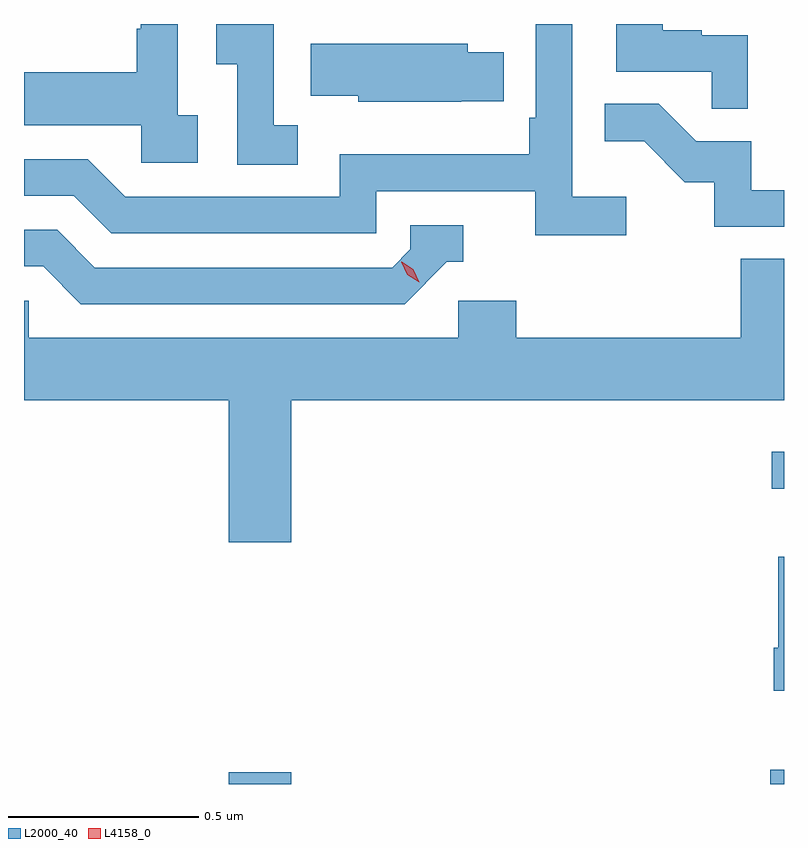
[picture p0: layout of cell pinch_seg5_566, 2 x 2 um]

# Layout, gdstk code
import gdstk
lib = gdstk.Library(unit=1e-6, precision=1e-09)
def R(c, l, rs):  # rectangles x0, y0, x1, y1
    for r in rs: c.add(gdstk.rectangle(r[:2], r[2:], *l))
def P(c, l, *ps):  # polygons
    for p in ps: c.add(gdstk.Polygon(p, *l))
L2000_40 = (2000, 40)
L4158_0 = (4158, 0)

pinch_seg5_566 = lib.new_cell('pinch_seg5_566')
R(pinch_seg5_566, L2000_40, [(968.204,835.77,968.368,835.801), (969.629,835.77,969.665,835.807), (969.633,836.547,969.665,836.644)])
P(pinch_seg5_566, L2000_40, [(969.57,837.741),(969.449,837.741),(969.449,837.754),(969.346,837.754),(969.346,837.77),(969.224,837.77),(969.224,837.645),(969.475,837.645),(969.475,837.547),(969.57,837.547)],
  [(969.25,837.316),(969.108,837.316),(969.108,837.77),(969.012,837.77),(969.012,837.523),(968.995,837.523),(968.995,837.427),(968.496,837.427),(968.496,837.315),(967.932,837.315),(967.833,837.414),(967.665,837.414),(967.665,837.318),(967.796,837.318),(967.895,837.219),(968.592,837.219),(968.592,837.33),(969.011,837.33),(969.011,837.214),(969.25,837.214)],
  [(968.122,837.53),(968.07,837.53),(968.07,837.77),(967.972,837.77),(967.972,837.758),(967.962,837.758),(967.962,837.643),(967.665,837.643),(967.665,837.503),(967.974,837.503),(967.974,837.405),(968.122,837.405)],
  [(968.386,837.503),(968.322,837.503),(968.322,837.77),(968.171,837.77),(968.171,837.664),(968.226,837.664),(968.226,837.4),(968.386,837.4)],
  [(968.816,837.567),(968.927,837.567),(968.927,837.696),(968.833,837.696),(968.833,837.718),(968.419,837.718),(968.419,837.581),(968.544,837.581),(968.544,837.566),(968.816,837.566)],
  [(969.665,837.333),(969.579,837.333),(969.579,837.462),(969.434,837.462),(969.336,837.56),(969.193,837.56),(969.193,837.461),(969.297,837.461),(969.404,837.354),(969.481,837.354),(969.481,837.237),(969.665,837.237)],
  [(968.778,837.144),(968.821,837.144),(968.821,837.24),(968.682,837.24),(968.682,837.177),(968.634,837.129),(967.851,837.129),(967.752,837.228),(967.665,837.228),(967.665,837.132),(967.715,837.132),(967.814,837.033),(968.667,837.033)],
  [(968.368,836.78),(969.665,836.78),(969.665,837.152),(969.551,837.152),(969.551,836.944),(968.96,836.944),(968.96,837.042),(968.808,837.042),(968.808,836.944),(967.677,836.944),(967.677,837.042),(967.665,837.042),(967.665,836.78),(968.204,836.78),(968.204,836.406),(968.368,836.406)],
  [(969.665,836.368),(969.65,836.368),(969.65,836.128),(969.638,836.128),(969.638,836.016),(969.665,836.016)])
P(pinch_seg5_566, L4158_0, [(968.705,837.09),(968.674,837.11),(968.658,837.144),(968.658,837.144),(968.659,837.144),(968.689,837.124),(968.705,837.091),(968.705,837.09)])

lib.write_gds('pinch_seg5_566.gds')
